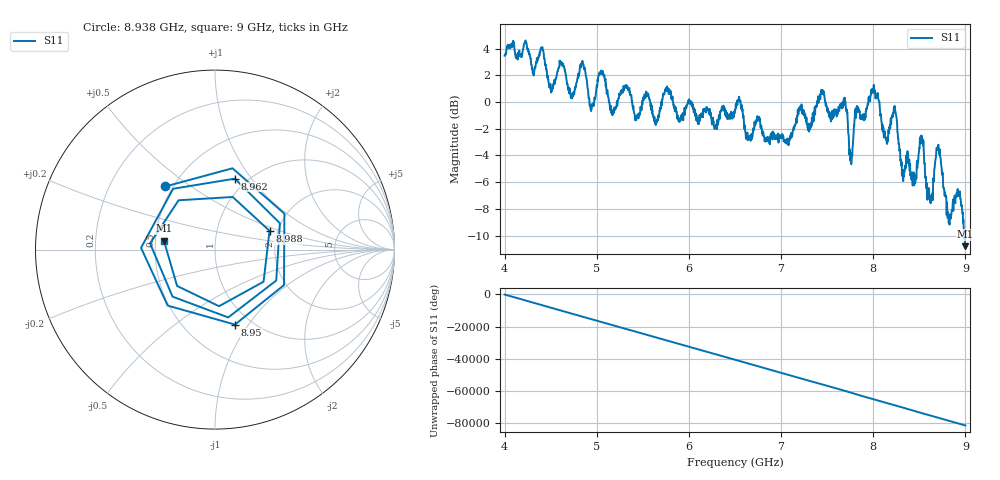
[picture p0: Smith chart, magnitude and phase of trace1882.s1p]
! Created with skrf 1.8.0 (http://scikit-rf.org).
# Hz S RI R 50.0
!freq ReS11 ImS11
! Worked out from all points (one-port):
!   1601 points, 4 GHz to 9 GHz, reference 50 ohm
!   lowest |S11| = -10.8 dB at 9 GHz (marker M1), VSWR 1.81, Z = 27.7 + j2.98 ohm
!   |S11| at or under -10 dB: 8.983337 GHz to 8.986292 GHz (2.955 MHz wide, 0.0329 % of centre); 8.993986 GHz to end of sweep
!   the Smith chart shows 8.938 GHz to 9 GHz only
!   S11 on the Smith chart (normalised r, x): 8.938 GHz: 0.46, +0.40; 8.95 GHz: 0.84, -0.87; 8.962 GHz: 0.88, +0.83; 8.988 GHz: 1.81, +0.42; 9 GHz: 0.55, +0.06
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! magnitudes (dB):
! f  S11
! 4 GHz  3.5
! 4.4 GHz  4.0
! 4.506 GHz  1.0
! 4.625 GHz  2.9
! 4.734 GHz  0.5
! 4.85 GHz  2.9
! 4.947 GHz  -0.4
! 5.044 GHz  2.2
! 5.162 GHz  -0.6
! 5.25 GHz  0.6
! 5.875 GHz  -1.0
! 6.5 GHz  -0.6
! 7.125 GHz  -2.2
! 7.447 GHz  0.6
! 7.694 GHz  -0.1
! 7.75 GHz  -4.4
! 7.997 GHz  0.9
! 8.375 GHz  -4.5
! 8.444 GHz  -6.2
! 8.525 GHz  -2.9
! 8.622 GHz  -7.6
! 8.706 GHz  -3.2
! 8.822 GHz  -9.0
! 8.938 GHz  -7.0
! 8.95 GHz  -7.3
! 8.962 GHz  -7.7
! 8.988 GHz  -9.9
! 9 GHz  -10.8
